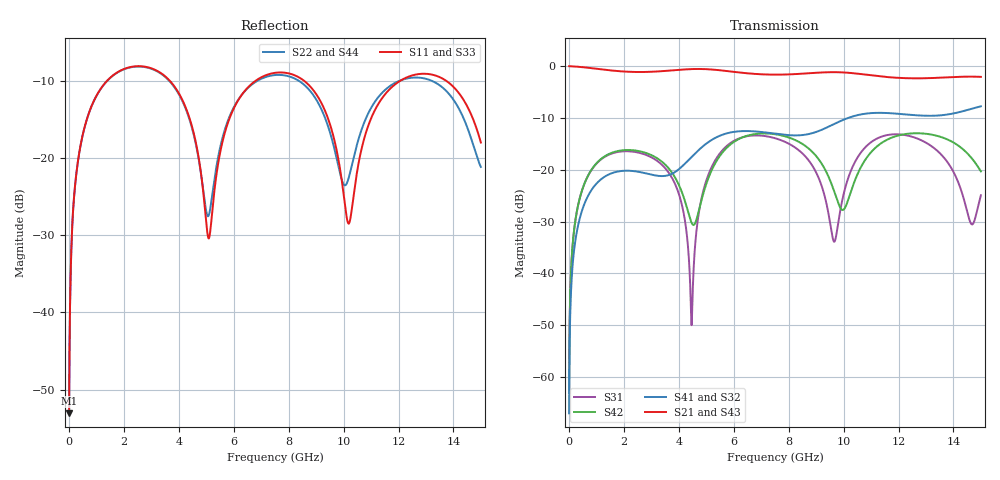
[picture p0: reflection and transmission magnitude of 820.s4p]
! Created with skrf 1.8.0 (http://scikit-rf.org).
# GHz S RI R 50.0
!freq ReS11 ImS11 ReS12 ImS12 ReS13 ImS13
! ReS14 ImS14
! ReS21 ImS21 ReS22 ImS22 ReS23 ImS23
! ReS24 ImS24
! ReS31 ImS31 ReS32 ImS32 ReS33 ImS33
! ReS34 ImS34
! ReS41 ImS41 ReS42 ImS42 ReS43 ImS43
! ReS44 ImS44
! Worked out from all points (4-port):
!   2499 points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, 5 MHz to 15 GHz, reference 50 ohm
!   strongest paths, dB at 5 MHz, 3.476 GHz, 7.19 GHz, 11.1 GHz, 15 GHz:
!     S21: 0.0, -0.9, -1.6, -1.8, -2.1
!     S43: 0.0, -0.9, -1.6, -1.8, -2.1
!     S41: -67.0, -21.2, -12.8, -9.0, -7.8
!     S32: -67.0, -21.2, -12.9, -9.1, -7.7
!     S42: -63.0, -18.9, -13.0, -16.1, -20.3
!     S31: -63.0, -19.5, -13.5, -14.3, -24.9
!   lowest |S11| = -53.1 dB at 5 MHz (marker M1), VSWR 1.00, Z = 50.2 + j0.135 ohm
!   |S11| at or under -10 dB: start of sweep to 1.375 GHz; 3.683 GHz to 6.778 GHz (3.094 GHz wide, 59.2 % of centre); 8.578 GHz to 12.04 GHz (3.464 GHz wide, 33.6 % of centre) (the widest 3 of 4)
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0.005  0.00177 0.00134  0.9982 -0.00344  8.9e-05 0.000699  -8.65e-05 -0.000439
       0.9982 -0.00344  0.00177 0.00134  -8.65e-05 -0.000439  8.92e-05 0.000699
       8.9e-05 0.000699  -8.65e-05 -0.000439  0.00177 0.00134  0.9982 -0.00344
       -8.65e-05 -0.000439  8.92e-05 0.000699  0.9982 -0.00344  0.00177 0.00134
0.3126303  0.0273 0.0877  0.9627 -0.2133  0.0123 0.0412  -0.0105 -0.0254
           0.9627 -0.2133  0.0272 0.0878  -0.0105 -0.0254  0.0129 0.041
           0.0123 0.0412  -0.0105 -0.0254  0.0273 0.0877  0.9627 -0.2133
           -0.0105 -0.0254  0.0129 0.041  0.9627 -0.2133  0.0272 0.0878
1.519383  0.2884 0.1706  0.5119 -0.7504  0.1287 0.0602  -0.0918 -0.000235
          0.5119 -0.7504  0.2861 0.1724  -0.0918 -0.000276  0.1353 0.0503
          0.1287 0.0602  -0.0918 -0.000276  0.2886 0.1706  0.5119 -0.7504
          -0.0918 -0.000235  0.1353 0.0503  0.5119 -0.7504  0.2861 0.1724
4.46436  0.0825 -0.1421  -0.8358 -0.4204  0.00299 0.00105  -0.0555 0.1208
         -0.8358 -0.4204  0.0913 -0.1322  -0.0559 0.1205  -0.026 -0.0165
         0.00299 0.00105  -0.0559 0.1205  0.0834 -0.1431  -0.8355 -0.4204
         -0.0555 0.1208  -0.026 -0.0165  -0.8355 -0.4204  0.0915 -0.1335
7.809504  0.3573 -0.0388  -0.0332 0.8278  0.1827 -0.0471  0.2059 -0.0712
          -0.0332 0.8278  0.3444 -0.0285  0.2056 -0.0697  0.1842 -0.1053
          0.1827 -0.0471  0.2056 -0.0697  0.3583 -0.0405  -0.0321 0.8275
          0.2059 -0.0712  0.1842 -0.1053  -0.0321 0.8275  0.3446 -0.0278
10.52313  0.0583 0.0662  0.8421 -0.0581  0.0825 0.1047  -0.0455 -0.3341
          0.8421 -0.0581  0.0977 0.0843  -0.0427 -0.3341  0.0277 0.0884
          0.0825 0.1047  -0.0427 -0.3341  0.0588 0.0614  0.8424 -0.0593
          -0.0455 -0.3341  0.0277 0.0884  0.8424 -0.0593  0.0967 0.0792
15  0.0771 -0.1001  -0.7107 -0.3382  0.0408 0.0394  -0.1631 0.3757
    -0.7107 -0.3382  0.0863 -0.0166  -0.1679 0.3742  -0.0863 -0.043
    0.0408 0.0394  -0.1679 0.3742  0.0748 -0.0935  -0.7156 -0.329
    -0.1631 0.3757  -0.0863 -0.043  -0.7156 -0.329  0.0813 -0.011
